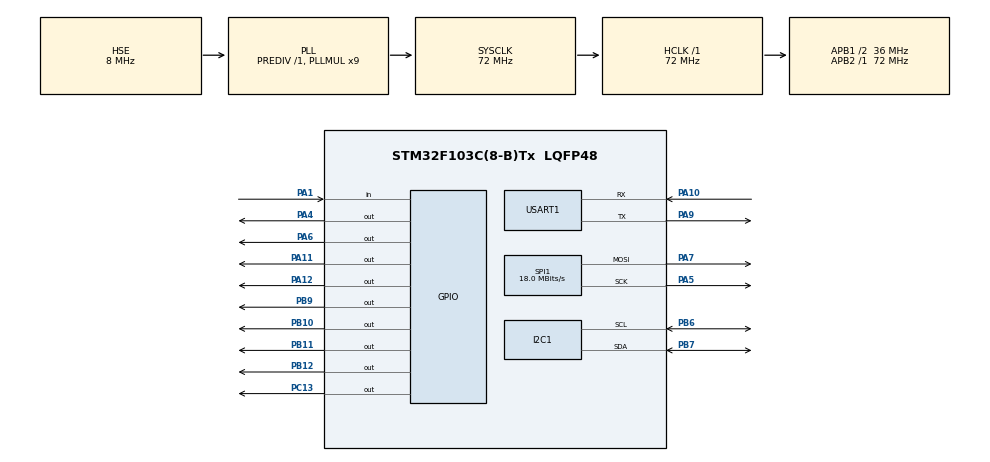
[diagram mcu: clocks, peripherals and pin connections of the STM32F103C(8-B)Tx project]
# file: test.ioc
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Dma.Request0=SPI1_TX
Dma.SPI1_TX.0.Direction=DMA_MEMORY_TO_PERIPH
Dma.SPI1_TX.0.Instance=DMA1_Channel3
Dma.SPI1_TX.0.MemDataAlignment=DMA_MDATAALIGN_BYTE
Dma.SPI1_TX.0.MemInc=DMA_MINC_ENABLE
Dma.SPI1_TX.0.Mode=DMA_NORMAL
Dma.SPI1_TX.0.PeriphDataAlignment=DMA_PDATAALIGN_BYTE
Dma.SPI1_TX.0.PeriphInc=DMA_PINC_DISABLE
Dma.SPI1_TX.0.Priority=DMA_PRIORITY_LOW
Mcu.Family=STM32F1
Mcu.Name=STM32F103C(8-B)Tx
Mcu.Package=LQFP48
NVIC.DMA1_Channel3_IRQn=true\:0\:0\:false\:false\:true\:false\:true\:true
NVIC.PriorityGroup=NVIC_PRIORITYGROUP_4
NVIC.SPI1_IRQn=true\:0\:0\:false\:false\:true\:true\:true\:true
PA1.GPIO_PuPd=GPIO_PULLUP
PA1.Signal=GPIO_Input
PA10.Mode=Asynchronous
PA10.Signal=USART1_RX
PA11.GPIO_Speed=GPIO_SPEED_FREQ_HIGH
PA11.PinState=GPIO_PIN_SET
PA11.Signal=GPIO_Output
PA12.GPIO_Speed=GPIO_SPEED_FREQ_HIGH
PA12.PinState=GPIO_PIN_SET
PA12.Signal=GPIO_Output
PA13.Mode=Serial_Wire
PA13.Signal=SYS_JTMS-SWDIO
PA14.Mode=Serial_Wire
PA14.Signal=SYS_JTCK-SWCLK
PA4.GPIO_Speed=GPIO_SPEED_FREQ_HIGH
PA4.PinState=GPIO_PIN_RESET
PA4.Signal=GPIO_Output
PA5.Mode=TX_Only_Simplex_Unidirect_Master
PA5.Signal=SPI1_SCK
PA6.GPIO_Speed=GPIO_SPEED_FREQ_HIGH
PA6.Signal=GPIO_Output
PA7.Mode=TX_Only_Simplex_Unidirect_Master
PA7.Signal=SPI1_MOSI
PA9.Mode=Asynchronous
PA9.Signal=USART1_TX
PB10.GPIO_Speed=GPIO_SPEED_FREQ_HIGH
PB10.Signal=GPIO_Output
PB11.GPIO_Speed=GPIO_SPEED_FREQ_HIGH
PB11.Signal=GPIO_Output
PB12.GPIO_Speed=GPIO_SPEED_FREQ_HIGH
PB12.Signal=GPIO_Output
PB6.Mode=I2C
PB6.Signal=I2C1_SCL
PB7.Mode=I2C
PB7.Signal=I2C1_SDA
PB9.GPIO_Speed=GPIO_SPEED_FREQ_HIGH
PB9.Signal=GPIO_Output
PC13-TAMPER-RTC.GPIO_PuPd=GPIO_PULLDOWN
PC13-TAMPER-RTC.GPIO_Speed=GPIO_SPEED_FREQ_HIGH
PC13-TAMPER-RTC.Signal=GPIO_Output
PD0-OSC_IN.Mode=HSE-External-Oscillator
PD0-OSC_IN.Signal=RCC_OSC_IN
PD1-OSC_OUT.Mode=HSE-External-Oscillator
PD1-OSC_OUT.Signal=RCC_OSC_OUT
ProjectManager.HeapSize=0x200
ProjectManager.StackSize=0x400
ProjectManager.TargetToolchain=MDK-ARM V5.32
RCC.AHBFreq_Value=72000000
RCC.APB1CLKDivider=RCC_HCLK_DIV2
RCC.APB1Freq_Value=36000000
RCC.APB1TimFreq_Value=72000000
RCC.APB2Freq_Value=72000000
RCC.APB2TimFreq_Value=72000000
RCC.HCLKFreq_Value=72000000
RCC.PLLMUL=RCC_PLL_MUL9
RCC.PLLSourceVirtual=RCC_PLLSOURCE_HSE
RCC.SYSCLKFreq_VALUE=72000000
RCC.SYSCLKSource=RCC_SYSCLKSOURCE_PLLCLK
RCC.USBFreq_Value=72000000
SPI1.BaudRatePrescaler=SPI_BAUDRATEPRESCALER_4
SPI1.CalculateBaudRate=18.0 MBits/s
SPI1.Direction=SPI_DIRECTION_2LINES
SPI1.Mode=SPI_MODE_MASTER
SPI1.VirtualType=VM_MASTER
USART1.VirtualMode=VM_ASYNC
board=custom

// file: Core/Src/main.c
/* USER CODE BEGIN Header */
/**
  ******************************************************************************
  * @file           : main.c
  * @brief          : Main program body
  ******************************************************************************
  * @attention
  *
  * Copyright (c) 2025 STMicroelectronics.
  * All rights reserved.
  *
  * This software is licensed under terms that can be found in the LICENSE file
  * in the root directory of this software component.
  * If no LICENSE file comes with this software, it is provided AS-IS.
  *
  ******************************************************************************
  */
/* USER CODE END Header */
#include "main.h"
#include "dma.h"
#include "i2c.h"
#include "spi.h"
#include "usart.h"
#include "gpio.h"

/* USER CODE BEGIN Includes */
#include "lcd_st7735.h"
#include "stdio.h"
/* USER CODE END Includes */

/* USER CODE BEGIN PTD */
uint32_t sys_clk=0;
/* USER CODE END PTD */

/* USER CODE BEGIN PV */
#include <string.h>

#define ADDR_24LCxx_Write 0xA0
#define ADDR_24LCxx_Read 0xA1
#define BufferSize 256
uint8_t WriteBuffer[BufferSize],ReadBuffer[BufferSize];
uint16_t i;
uint16_t HelloY=0;
/* USER CODE END PV */

void SystemClock_Config(void);

int main(void)
{

  /* MCU Configuration--------------------------------------------------------*/

  /* Reset of all peripherals, Initializes the Flash interface and the Systick. */
  HAL_Init();

  /* Configure the system clock */
  SystemClock_Config();

  /* Initialize all configured peripherals */
  MX_GPIO_Init();
  MX_DMA_Init();
  MX_USART1_UART_Init();
  MX_I2C1_Init();
  MX_SPI1_Init();
  /* USER CODE BEGIN 2 */
	tft_init();
	lcd_clear(WHITE);
  LCD_ShowCharStr(0, HelloY, 80, "HELLOWORLD", BLUE , BLACK, 16);

//IIC实验

	for(i=0; i<6; i++)
    WriteBuffer[i]=i;    /* WriteBuffer init */

		printf("\r\n************I2C Example**************************\r\n");
			for (int j=0; j<32; j++)
        {
                if(HAL_I2C_Mem_Write(&hi2c1, ADDR_24LCxx_Write, 8*j, I2C_MEMADD_SIZE_16BIT,WriteBuffer+8*j,8, 1000) == HAL_OK)
                {
                                printf("\r\n EEPROM 24C02 Write Test OK \r\n");
                        HAL_Delay(20);
                }
                else
                {
                         HAL_Delay(20);
                                printf("\r\n EEPROM 24C02 Write Test False \r\n");
                }
		}
		/*
		// wrinte date to EEPROM   如果要一次写一个字节，写256次，用这里的代码
		for(i=0;i<BufferSize;i++)
		{
		    HAL_I2C_Mem_Write(&hi2c1, ADDR_24LCxx_Write, i, I2C_MEMADD_SIZE_16BIT,&WriteBuffer[i],1，0xff);//使用I2C块读，出错。因此采用此种方式，逐个单字节写入
		    HAL_Delay(5);//此处延时必加，与AT24C02写时序有关
		}
		printf("\r\n EEPROM 24C02 Write Test OK \r\n");
		*/

		HAL_I2C_Mem_Read(&hi2c1, ADDR_24LCxx_Read, 0, I2C_MEMADD_SIZE_16BIT,ReadBuffer,BufferSize, 0xff);

		for(i=0; i<10; i++)
			printf("0x%2X  ",ReadBuffer[i]);
  /* USER CODE END 2 */

  /* Infinite loop */
  /* USER CODE BEGIN WHILE */
	uint32_t key_value1 = 0;
	uint32_t key_value2 = 0;
	uint32_t key_value3 = 0;
	key_value1 = HAL_GPIO_ReadPin(GPIOA,GPIO_PIN_1);
  while (1)
  {
//		HAL_Delay(1000);
//		HAL_GPIO_WritePin(GPIOC,GPIO_PIN_13,GPIO_PIN_SET);
//		HAL_Delay(1000);
//		HAL_GPIO_WritePin(GPIOC,GPIO_PIN_13,GPIO_PIN_RESET);
//		printf("hello world\r\n");
	  			//消抖
		HAL_Delay(20);
		//读取按键电平状态
		key_value2 = key_value1;
		key_value1 = HAL_GPIO_ReadPin(GPIOA,GPIO_PIN_1);
		HAL_Delay(10);
		key_value3 = HAL_GPIO_ReadPin(GPIOA,GPIO_PIN_1);
		if((key_value1 == 0)&&(key_value2==1)&&(key_value3==1))
		{
			HelloY+=16;
			lcd_clear(WHITE);
			LCD_ShowCharStr(0, HelloY, 80, "HELLOWORLD", BLUE , BLACK, 16);
		}
		if((key_value1 == 0)&&(key_value2==1)&&(key_value3==0))
		{
			HelloY-=16;
			lcd_clear(WHITE);
			LCD_ShowCharStr(0, HelloY, 80, "HELLOWORLD", BLUE , BLACK, 16);
		}
    /* USER CODE END WHILE */

  }
}

void SystemClock_Config(void)
{
  RCC_OscInitTypeDef RCC_OscInitStruct = {0};
  RCC_ClkInitTypeDef RCC_ClkInitStruct = {0};

  /** Initializes the RCC Oscillators according to the specified parameters
  * in the RCC_OscInitTypeDef structure.
  */
  RCC_OscInitStruct.OscillatorType = RCC_OSCILLATORTYPE_HSE;
  RCC_OscInitStruct.HSEState = RCC_HSE_ON;
  RCC_OscInitStruct.HSEPredivValue = RCC_HSE_PREDIV_DIV1;
  RCC_OscInitStruct.HSIState = RCC_HSI_ON;
  RCC_OscInitStruct.PLL.PLLState = RCC_PLL_ON;
  RCC_OscInitStruct.PLL.PLLSource = RCC_PLLSOURCE_HSE;
  RCC_OscInitStruct.PLL.PLLMUL = RCC_PLL_MUL9;
  if (HAL_RCC_OscConfig(&RCC_OscInitStruct) != HAL_OK)
  {
    Error_Handler();
  }

  /** Initializes the CPU, AHB and APB buses clocks
  */
  RCC_ClkInitStruct.ClockType = RCC_CLOCKTYPE_HCLK|RCC_CLOCKTYPE_SYSCLK
                              |RCC_CLOCKTYPE_PCLK1|RCC_CLOCKTYPE_PCLK2;
  RCC_ClkInitStruct.SYSCLKSource = RCC_SYSCLKSOURCE_PLLCLK;
  RCC_ClkInitStruct.AHBCLKDivider = RCC_SYSCLK_DIV1;
  RCC_ClkInitStruct.APB1CLKDivider = RCC_HCLK_DIV2;
  RCC_ClkInitStruct.APB2CLKDivider = RCC_HCLK_DIV1;

  if (HAL_RCC_ClockConfig(&RCC_ClkInitStruct, FLASH_LATENCY_2) != HAL_OK)
  {
    Error_Handler();
  }
}

void Error_Handler(void)
{
  __disable_irq();
  while (1)
  {
  }
}
